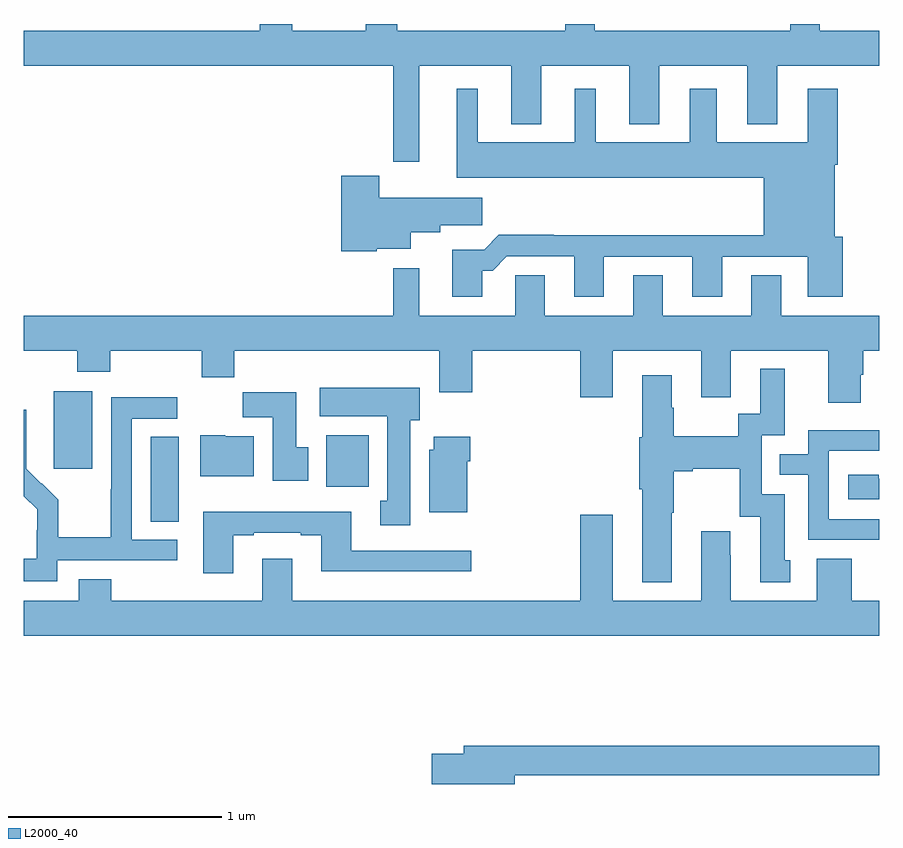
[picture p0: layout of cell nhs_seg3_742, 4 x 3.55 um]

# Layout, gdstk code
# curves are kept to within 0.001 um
import gdstk
lib = gdstk.Library(unit=1e-6, precision=1e-09)
def R(c, l, rs):  # rectangles x0, y0, x1, y1
    for r in rs: c.add(gdstk.rectangle(r[:2], r[2:], *l))
def P(c, l, *ps):  # polygons
    for p in ps: c.add(gdstk.Polygon(p, *l))
L2000_40 = (2000, 40)

nhs_seg3_742 = lib.new_cell('nhs_seg3_742')
R(nhs_seg3_742, L2000_40, [(147.593,744.073,147.724,744.47), (148.415,744.236,148.612,744.478), (147.14,744.321,147.319,744.682)])
P(nhs_seg3_742, L2000_40, [(149.671,746.4),(149.531,746.4),(149.531,746.368),(148.747,746.368),(148.747,746.4),(148.6,746.4),(148.6,746.368),(148.255,746.368),(148.255,746.4),(148.103,746.4),(148.103,746.368),(147,746.368),(147,746.204),(148.728,746.204),(148.728,745.755),(148.849,745.755),(148.849,746.204),(149.279,746.204),(149.279,745.931),(149.419,745.931),(149.419,746.204),(149.831,746.204),(149.831,745.931),(149.971,745.931),(149.971,746.204),(150.383,746.204),(150.383,745.931),(150.523,745.931),(150.523,746.204),(151,746.204),(151,746.368),(150.723,746.368),(150.723,746.4),(150.585,746.4),(150.585,746.368),(149.671,746.368)],
  [(149.143,745.247),(149.192,745.247),(149.259,745.314),(149.573,745.314),(149.573,745.125),(149.713,745.125),(149.713,745.311),(150.125,745.311),(150.125,745.125),(150.265,745.125),(150.265,745.311),(150.665,745.311),(150.665,745.125),(150.83,745.125),(150.83,745.404),(150.793,745.404),(150.793,745.742),(150.806,745.742),(150.806,746.098),(150.665,746.098),(150.665,745.846),(150.241,745.846),(150.241,746.098),(150.113,746.098),(150.113,745.846),(149.674,745.846),(149.674,746.098),(149.576,746.098),(149.576,745.846),(149.122,745.846),(149.122,746.098),(149.024,746.098),(149.024,745.682),(150.461,745.682),(150.461,745.412),(149.477,745.412),(149.477,745.415),(149.222,745.415),(149.152,745.345),(149.003,745.345),(149.003,745.125),(149.143,745.125)],
  [(148.65,745.349),(148.81,745.349),(148.81,745.427),(148.948,745.427),(148.948,745.459),(149.143,745.459),(149.143,745.588),(148.662,745.588),(148.662,745.69),(148.484,745.69),(148.484,745.337),(148.65,745.337)],
  [(147,744.872),(147.25,744.872),(147.25,744.773),(147.405,744.773),(147.405,744.872),(147.832,744.872),(147.832,744.748),(147.983,744.748),(147.983,744.872),(148.943,744.872),(148.943,744.678),(149.096,744.678),(149.096,744.872),(149.603,744.872),(149.603,744.654),(149.755,744.654),(149.755,744.872),(150.167,744.872),(150.167,744.654),(150.307,744.654),(150.307,744.872),(150.761,744.872),(150.761,744.63),(150.913,744.63),(150.913,744.759),(150.926,744.759),(150.926,744.872),(151,744.872),(151,745.036),(150.541,745.036),(150.541,745.226),(150.401,745.226),(150.401,745.036),(149.989,745.036),(149.989,745.226),(149.849,745.226),(149.849,745.036),(149.437,745.036),(149.437,745.226),(149.298,745.226),(149.298,745.036),(148.849,745.036),(148.849,745.258),(148.728,745.258),(148.728,745.036),(147,745.036)],
  [(150.031,744.115),(150.039,744.115),(150.039,744.308),(150.127,744.308),(150.127,744.32),(150.347,744.32),(150.347,744.096),(150.443,744.096),(150.443,743.79),(150.583,743.79),(150.583,743.892),(150.559,743.892),(150.559,744.201),(150.45,744.201),(150.45,744.477),(150.559,744.477),(150.559,744.787),(150.443,744.787),(150.443,744.578),(150.342,744.578),(150.342,744.472),(150.039,744.472),(150.039,744.606),(150.031,744.606),(150.031,744.757),(149.891,744.757),(149.891,744.468),(149.879,744.468),(149.879,744.224),(149.891,744.224),(149.891,743.789),(150.031,743.789)],
  [(148.807,744.546),(148.852,744.546),(148.852,744.7),(148.383,744.7),(148.383,744.566),(148.7,744.566),(148.7,744.17),(148.667,744.17),(148.667,744.057),(148.807,744.057)],
  [(148.33,744.42),(148.273,744.42),(148.273,744.679),(148.024,744.679),(148.024,744.56),(148.163,744.56),(148.163,744.264),(148.33,744.264)],
  [(147.156,743.892),(147.718,743.892),(147.718,743.988),(147.504,743.988),(147.504,744.555),(147.718,744.555),(147.718,744.654),(147.408,744.654),(147.408,744.224),(147.406,744.224),(147.406,744.001),(147.161,744.001),(147.161,744.175),(147.084,744.252),(147.081,744.249),(147.011,744.32),(147.012,744.596),(147,744.596),(147,744.192),(147.062,744.13),(147.062,744.033),(147.06,744.033),(147.06,743.899),(147,743.899),(147,743.795),(147.156,743.795)],
  [(151,744.084),(150.765,744.084),(150.765,744.405),(151,744.405),(151,744.501),(150.669,744.501),(150.669,744.387),(150.535,744.387),(150.535,744.291),(150.669,744.291),(150.669,743.988),(151,743.988)],
  [(148.075,744.472),(147.942,744.472),(147.942,744.478),(147.824,744.478),(147.824,744.284),(148.075,744.284)],
  [(149.074,744.356),(149.087,744.356),(149.087,744.469),(148.916,744.469),(148.916,744.408),(148.895,744.408),(148.895,744.116),(149.074,744.116)],
  [(151,744.274),(150.999,744.274),(150.999,744.292),(150.855,744.292),(150.855,744.177),(151,744.177)],
  [(147.979,744.009),(148.075,744.009),(148.075,744.021),(148.295,744.021),(148.295,744.009),(148.391,744.009),(148.391,743.84),(149.092,743.84),(149.092,743.937),(148.531,743.937),(148.531,744.118),(147.839,744.118),(147.839,743.832),(147.979,743.832)],
  [(151,743.704),(150.871,743.704),(150.871,743.899),(150.707,743.899),(150.707,743.704),(150.307,743.704),(150.307,743.915),(150.304,743.915),(150.304,744.028),(150.167,744.028),(150.167,743.704),(149.755,743.704),(149.755,744.106),(149.603,744.106),(149.603,743.704),(148.255,743.704),(148.255,743.899),(148.115,743.899),(148.115,743.704),(147.41,743.704),(147.41,743.803),(147.257,743.803),(147.257,743.704),(147,743.704),(147,743.54),(151,743.54)],
  [(149.296,742.888),(151,742.888),(151,743.024),(149.057,743.024),(149.057,742.988),(148.908,742.988),(148.908,742.846),(149.296,742.846)])

lib.write_gds('nhs_seg3_742.gds')
